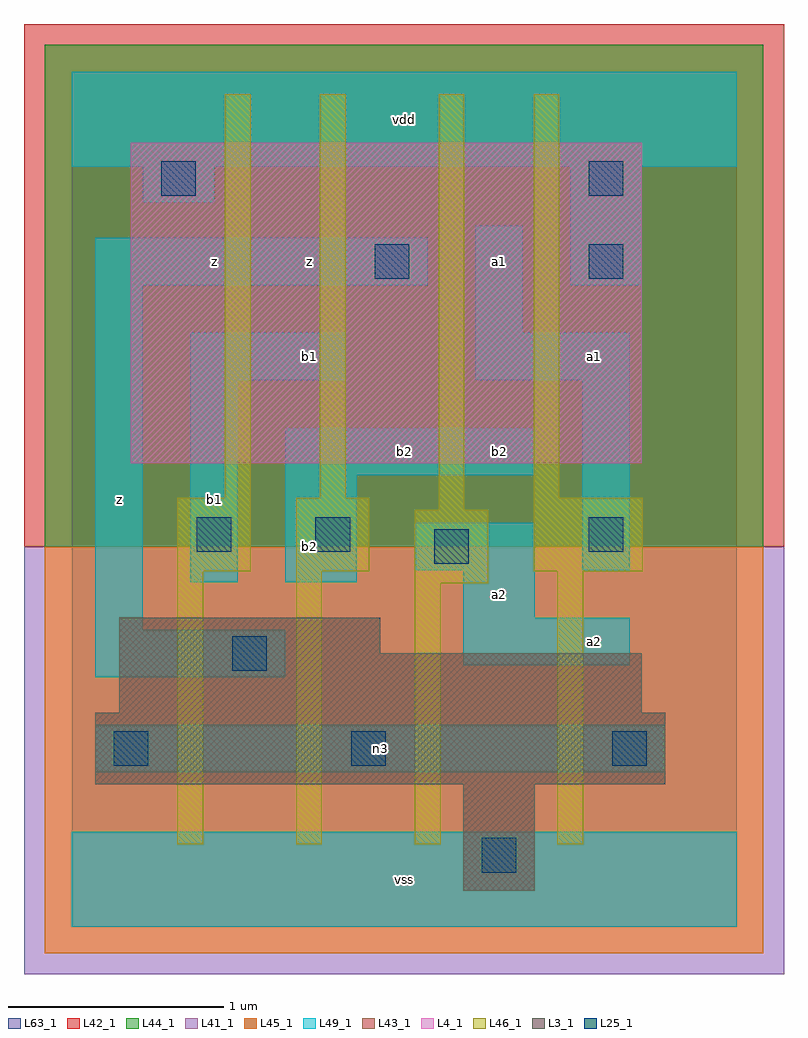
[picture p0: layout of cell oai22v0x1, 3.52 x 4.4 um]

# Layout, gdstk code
import gdstk
lib = gdstk.Library(unit=1e-6, precision=1e-09)
def R(c, l, rs):  # rectangles x0, y0, x1, y1
    for r in rs: c.add(gdstk.rectangle(r[:2], r[2:], *l))
L3_1 = (3, 1)
L4_1 = (4, 1)
L25_1 = (25, 1)
L41_1 = (41, 1)
L42_1 = (42, 1)
L43_1 = (43, 1)
L44_1 = (44, 1)
L45_1 = (45, 1)
L46_1 = (46, 1)
L49_1 = (49, 1)
L63_1 = (63, 1)

oai22v0x1 = lib.new_cell('oai22v0x1')
R(oai22v0x1, L3_1, [(1.815,0.165,2.145,0.66), (0.11,0.66,2.75,0.99), (0.22,0.99,2.64,1.265), (0.22,1.265,1.43,1.43)])
R(oai22v0x1, L4_1, [(0.275,2.145,2.64,3.63)])
R(oai22v0x1, L25_1, [(1.9,0.25,2.06,0.41), (0.195,0.745,0.355,0.905), (1.295,0.745,1.455,0.905), (2.505,0.745,2.665,0.905), (0.745,1.185,0.905,1.345), (1.68,1.68,1.84,1.84), (0.58,1.735,0.74,1.895), (1.13,1.735,1.29,1.895), (2.395,1.735,2.555,1.895), (1.405,3,1.565,3.16), (2.395,3,2.555,3.16), (0.415,3.385,0.575,3.545), (2.395,3.385,2.555,3.545)])
R(oai22v0x1, L41_1, [(-0.22,-0.22,3.3,1.76)])
R(oai22v0x1, L42_1, [(-0.22,1.76,3.3,4.18)])
R(oai22v0x1, L43_1, [(1.815,0.165,2.145,0.66), (0.11,0.66,2.75,0.99), (0.22,0.99,2.64,1.265), (0.22,1.265,1.43,1.43), (0.275,2.145,2.64,3.63)])
R(oai22v0x1, L44_1, [(-0.125,1.76,3.205,4.085)])
R(oai22v0x1, L45_1, [(-0.125,-0.125,3.205,1.76)])
R(oai22v0x1, L46_1, [(0.49,0.38,0.61,1.645), (1.04,0.38,1.16,1.645), (1.59,0.38,1.71,1.59), (2.25,0.38,2.37,1.645), (1.59,1.59,1.93,1.93), (0.49,1.645,0.83,1.985), (1.04,1.645,1.38,1.985), (2.14,1.645,2.645,1.985), (1.7,1.93,1.82,3.855), (0.71,1.985,0.83,3.855), (1.15,1.985,1.27,3.855), (2.14,1.985,2.26,3.855)])
R(oai22v0x1, L49_1, [(0,0,3.08,0.44), (0.11,0.715,2.75,0.935), (0.11,1.155,0.99,1.375), (1.815,1.21,2.585,1.43), (0.11,1.375,0.33,2.97), (1.815,1.43,2.145,1.65), (0.55,1.595,0.77,2.53), (0.99,1.595,1.32,2.09), (1.595,1.65,2.145,1.87), (2.365,1.65,2.585,2.53), (0.99,2.09,2.145,2.31), (0.55,2.53,1.265,2.75), (1.87,2.53,2.585,2.75), (1.87,2.75,2.09,3.245), (0.11,2.97,1.65,3.19), (2.31,2.97,2.64,3.52), (0.33,3.355,0.66,3.52), (0,3.52,3.08,3.96)])
R(oai22v0x1, L63_1, [(0,0,3.08,3.96)])
oai22v0x1.add(gdstk.Label('z', (0.22,1.98), layer=49, texttype=1))
oai22v0x1.add(gdstk.Label('b2', (1.1,1.76), layer=49, texttype=1))
oai22v0x1.add(gdstk.Label('b1', (0.66,1.98), layer=49, texttype=1))
oai22v0x1.add(gdstk.Label('b1', (1.1,2.64), layer=49, texttype=1))
oai22v0x1.add(gdstk.Label('z', (1.1,3.08), layer=49, texttype=1))
oai22v0x1.add(gdstk.Label('z', (0.66,3.08), layer=49, texttype=1))
oai22v0x1.add(gdstk.Label('vss', (1.54,0.22), layer=49, texttype=1))
oai22v0x1.add(gdstk.Label('a2', (1.98,1.54), layer=49, texttype=1))
oai22v0x1.add(gdstk.Label('b2', (1.98,2.2), layer=49, texttype=1))
oai22v0x1.add(gdstk.Label('b2', (1.54,2.2), layer=49, texttype=1))
oai22v0x1.add(gdstk.Label('a1', (1.98,3.08), layer=49, texttype=1))
oai22v0x1.add(gdstk.Label('vdd', (1.54,3.74), layer=49, texttype=1))
oai22v0x1.add(gdstk.Label('n3', (1.43,0.825), layer=49, texttype=1))
oai22v0x1.add(gdstk.Label('a2', (2.42,1.32), layer=49, texttype=1))
oai22v0x1.add(gdstk.Label('a1', (2.42,2.64), layer=49, texttype=1))

lib.write_gds('oai22v0x1.gds')
